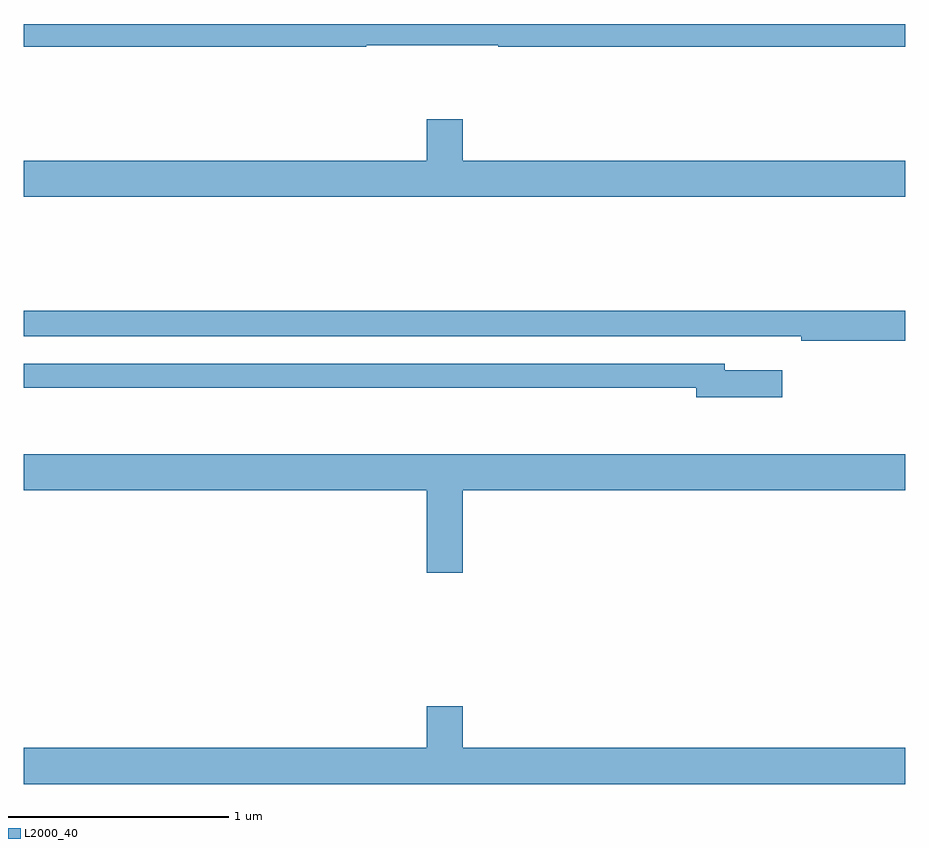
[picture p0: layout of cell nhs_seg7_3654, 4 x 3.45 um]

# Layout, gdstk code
import gdstk
lib = gdstk.Library(unit=1e-6, precision=1e-09)
def P(c, l, *ps):  # polygons
    for p in ps: c.add(gdstk.Polygon(p, *l))
L2000_40 = (2000, 40)

nhs_seg7_3654 = lib.new_cell('nhs_seg7_3654')
P(nhs_seg7_3654, L2000_40, [(344.554,1067.904),(345.154,1067.904),(345.154,1067.896),(347,1067.896),(347,1068),(343,1068),(343,1067.896),(344.554,1067.896)],
  [(347,1067.38),(344.992,1067.38),(344.992,1067.569),(344.828,1067.569),(344.828,1067.38),(343,1067.38),(343,1067.216),(347,1067.216)],
  [(347,1066.7),(343,1066.7),(343,1066.584),(346.276,1066.584),(346.276,1066.583),(346.528,1066.583),(346.528,1066.564),(347,1066.564)],
  [(346.441,1066.429),(346.18,1066.429),(346.18,1066.458),(343,1066.458),(343,1066.35),(346.052,1066.35),(346.052,1066.307),(346.441,1066.307)],
  [(344.992,1065.884),(347,1065.884),(347,1066.048),(343,1066.048),(343,1065.884),(344.828,1065.884),(344.828,1065.51),(344.992,1065.51)],
  [(347,1064.716),(344.992,1064.716),(344.992,1064.905),(344.828,1064.905),(344.828,1064.716),(343,1064.716),(343,1064.552),(347,1064.552)])

lib.write_gds('nhs_seg7_3654.gds')
